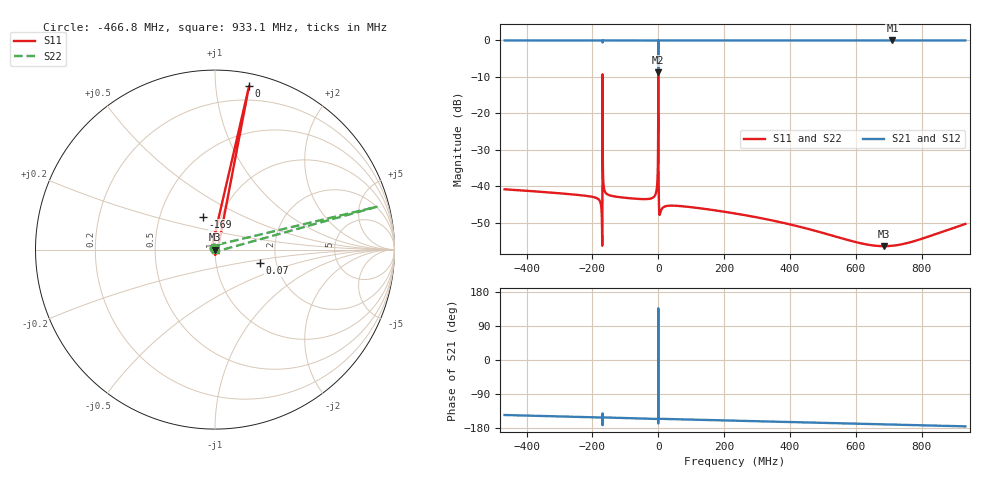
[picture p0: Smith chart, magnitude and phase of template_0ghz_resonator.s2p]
! Touchstone file exported from HFSS 2024.1.0
!  File:  C:/Users/alex_0000/Desktop/hfss_resonance_simulator (1).aedt
!  Generated:  06:27:55 PM Jun  4, 2025
!  Design:  hfssO1XZ3E2
!  Project:  hfss_resonance_simulator (1)
!  Setup:  Setup1
!  Solution:  Sweep
! Created with skrf (http://scikit-rf.org).
# GHz S RI R 50.0
! Port[1] = 1
! Port[2] = 2
!freq ReS11 ImS11 ReS21 ImS21 ReS12 ImS12 ReS22 ImS22
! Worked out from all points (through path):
!   20000 points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, -466.8 MHz to 933.1 MHz, reference 50 ohm
!   highest |S21| = 0.00 dB at 711.3 MHz (marker M1); lowest = -8.7 dB at 0 Hz (marker M2)
!   lowest |S11| = -56.5 dB at 685.8 MHz (marker M3), VSWR 1.00, Z = 50.1 + j0.0397 ohm
!   |S11| at or under -10 dB: start of sweep to -169.1 MHz; -169 MHz to -53.01 kHz; 59.21 kHz to end of sweep
!   |S22| runs from -56.5 to -0.6 dB; largest |S21 - S12| = 1.1e-11
!   S11 on the Smith chart (normalised r, x): -466.8 MHz: 0.99, +0.02; -169 MHz: 0.82, +0.31; 0 Hz: 0.09, +1.23; 70 kHz: 1.63, -0.27; 933.1 MHz: 1.00, -0.00
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-0.46683  -0.00444 0.00791  -0.8209 -0.571  -0.8209 -0.571  -0.00587 0.00691
-0.23345  -0.00292 0.00691  -0.8675 -0.4973  -0.8675 -0.4973  -0.00448 0.00601
-0.18662  -0.00259 0.00634  -0.8763 -0.4818  -0.8763 -0.4818  -0.00397 0.00558
-0.17668  -0.00243 0.00565  -0.8784 -0.4779  -0.8784 -0.4779  -0.00343 0.00511
-0.16898  -0.066 0.1817  -0.7604 -0.62  -0.7604 -0.62  -0.1647 0.1013
-0.16261  -0.00275 0.00807  -0.8797 -0.4755  -0.8797 -0.4755  -0.00525 0.00673
-0.15883  -0.00265 0.00756  -0.8806 -0.4738  -0.8806 -0.4738  -0.00485 0.00637
-0.14602  -0.0025 0.00702  -0.8831 -0.4692  -0.8831 -0.4692  -0.00442 0.006
-0.0308  -0.00214 0.00633  -0.9027 -0.4301  -0.9027 -0.4301  -0.00357 0.00565
-0.01155  -0.0028 0.00672  -0.9062 -0.4228  -0.9062 -0.4228  -0.00335 0.00647
-0.00553  -0.00411 0.00759  -0.9078 -0.4193  -0.9078 -0.4193  -0.00311 0.00805
-0.00014  -0.0902 0.0811  -0.9433 -0.3091  -0.9433 -0.3091  0.0247 0.1188
0  0.19 0.9113  -0.265 0.2513  -0.265 0.2513  0.8999 0.2382
7e-05  0.2481 -0.0768  -0.7381 -0.6227  -0.7381 -0.6227  0.0339 -0.2575
0.00917  0.000121 0.00473  -0.9081 -0.4188  -0.9081 -0.4188  -0.00368 0.00298
0.05005  -0.000931 0.00532  -0.915 -0.4035  -0.915 -0.4035  -0.0033 0.00427
0.23317  -0.000215 0.00422  -0.9405 -0.3398  -0.9405 -0.3398  -0.00253 0.00338
0.46648  0.000751 0.0024  -0.9665 -0.2566  -0.9665 -0.2566  -0.00184 0.00171
0.68579  0.00145 0.000396  -0.9843 -0.1765  -0.9843 -0.1765  -0.0015 -0.000133
0.69979  0.00149 0.000257  -0.9852 -0.1713  -0.9852 -0.1713  -0.00149 -0.00026
0.71127  0.00152 0.000143  -0.9859 -0.1671  -0.9859 -0.1671  -0.00148 -0.000365
0.9331  0.00198 -0.0023  -0.9964 -0.0845  -0.9964 -0.0845  -0.00156 -0.0026
